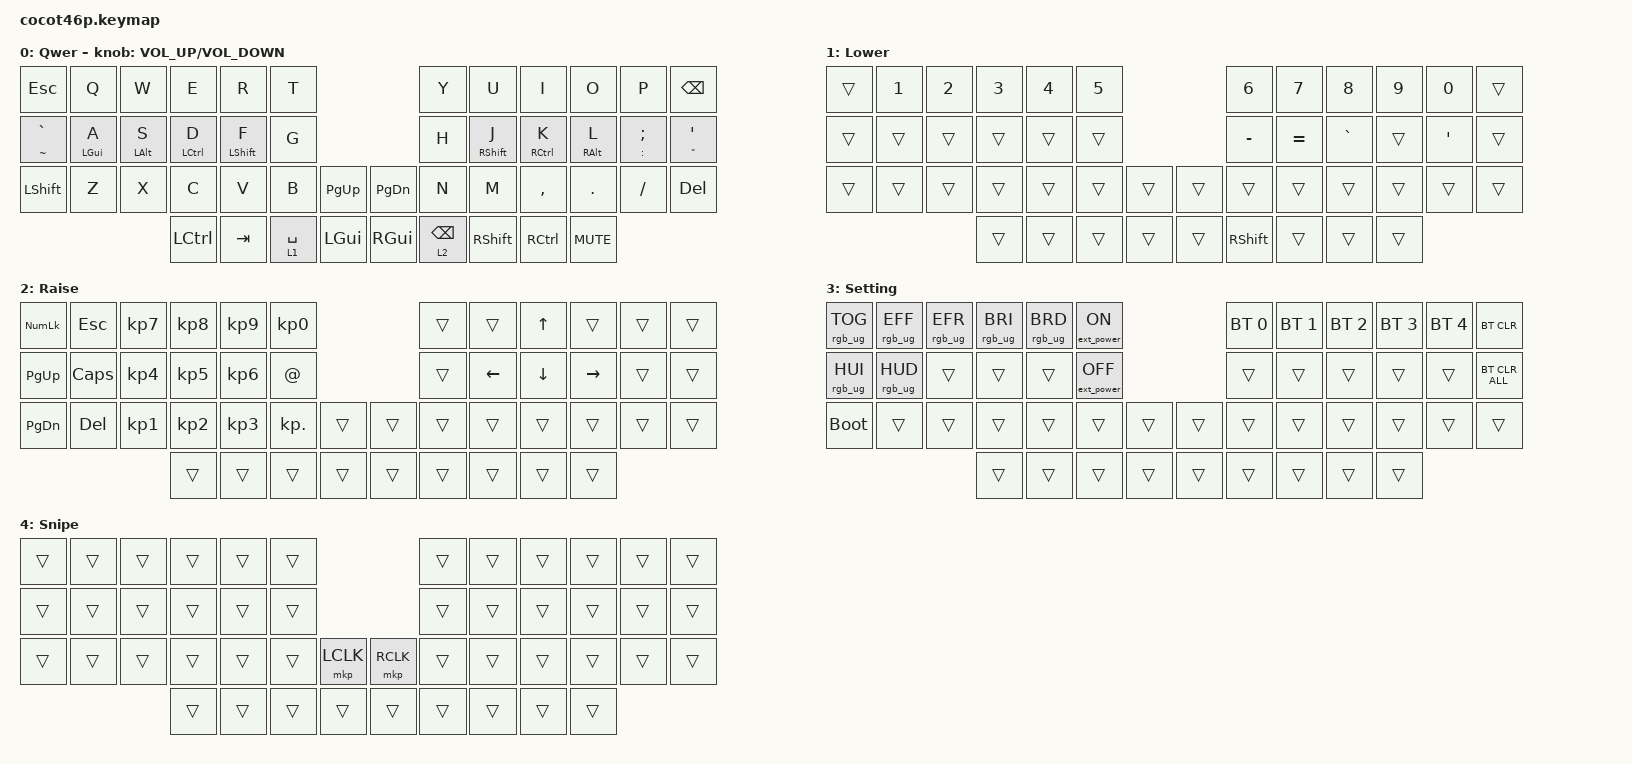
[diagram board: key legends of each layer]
/*
 * Copyright (c) 2021 The ZMK Contributors
 *
 * SPDX-License-Identifier: MIT
 */

#include <behaviors/mouse_keys.dtsi>
#include <dt-bindings/zmk/mouse.h>
#include <behaviors.dtsi>
#include <dt-bindings/zmk/bt.h>
#include <dt-bindings/zmk/ext_power.h>
#include <dt-bindings/zmk/keys.h>
#include <dt-bindings/zmk/pointing.h>
#include <dt-bindings/zmk/rgb.h>

/ {
    combos {
        compatible = "zmk,combos";

        left_bkt {
            bindings = <&kp LEFT_BRACKET>;
            key-positions = <3 4>;
        };

        right_bkt {
            bindings = <&kp RIGHT_BRACKET>;
            key-positions = <7 8>;
        };

        left_brace {
            bindings = <&kp LEFT_BRACE>;
            key-positions = <27 28>;
        };

        right_brace {
            bindings = <&kp RIGHT_BRACE>;
            key-positions = <33 34>;
        };

        left_par {
            bindings = <&kp LEFT_PARENTHESIS>;
            key-positions = <15 16>;
        };

        right_par {
            bindings = <&kp RIGHT_PARENTHESIS>;
            key-positions = <19 20>;
        };

        pipe {
            bindings = <&kp PIPE>;
            key-positions = <5 6>;
        };

        back_slash {
            bindings = <&kp BACKSLASH>;
            key-positions = <17 18>;
        };

        enter {
            bindings = <&kp ENTER>;
            key-positions = <21 22>;
        };
    };

    behaviors {
        hm: homerow_mods {
            compatible = "zmk,behavior-hold-tap";
            label = "HOMEROW_MODS";
            bindings = <&kp>, <&kp>;

            #binding-cells = <2>;
            tapping-term-ms = <200>;
            quick-tap-ms = <180>;
            flavor = "tap-preferred";
        };

        ltq: ltq {
            compatible = "zmk,behavior-hold-tap";
            label = "LTQ";
            bindings = <&mo>, <&kp>;

            #binding-cells = <2>;
            tapping-term-ms = <200>;
            quick-tap-ms = <180>;
        };

        as: auto_shift {
            compatible = "zmk,behavior-hold-tap";
            label = "AUTO_SHIFT";
            bindings = <&kp>, <&kp>;

            #binding-cells = <2>;
            tapping-term-ms = <135>;
            quick-tap-ms = <0>;
        };
    };

    keymap {
        compatible = "zmk,keymap";

        Qwer {
            bindings = <
&kp ESCAPE       &kp Q           &kp W           &kp E               &kp R             &kp T                                    &kp Y             &kp U              &kp I                &kp O            &kp P                &kp BSPC
&as TILDE GRAVE  &hm LEFT_GUI A  &hm LEFT_ALT S  &hm LEFT_CONTROL D  &hm LEFT_SHIFT F  &kp G                                    &kp H             &hm RIGHT_SHIFT J  &hm RIGHT_CONTROL K  &hm RIGHT_ALT L  &as COLON SEMICOLON  &as DOUBLE_QUOTES SINGLE_QUOTE
&kp LEFT_SHIFT   &kp Z           &kp X           &kp C               &kp V             &kp B        &kp PAGE_UP  &kp PAGE_DOWN  &kp N             &kp M              &kp COMMA            &kp PERIOD       &kp SLASH            &kp DELETE
                                                 &kp LCTRL           &kp TAB           &lt 1 SPACE  &kp LGUI     &kp RGUI       &ltq 2 BACKSPACE  &kp RIGHT_SHIFT    &kp RCTRL            &kp C_MUTE
            >;

            sensor-bindings = <&inc_dec_kp C_VOLUME_UP C_VOLUME_DOWN>;
            label = "Qwer";
        };

        Lower {
            bindings = <
&trans  &kp NUMBER_1  &kp NUMBER_2  &kp NUMBER_3  &kp NUMBER_4  &kp N5                  &kp NUMBER_6  &kp N7     &kp N8     &kp N9  &kp N0   &trans
&trans  &trans        &trans        &trans        &trans        &trans                  &kp MINUS     &kp EQUAL  &kp GRAVE  &trans  &kp SQT  &trans
&trans  &trans        &trans        &trans        &trans        &trans  &trans  &trans  &trans        &trans     &trans     &trans  &trans   &trans
                                    &trans        &trans        &trans  &trans  &trans  &kp RSHFT     &trans     &trans     &trans
            >;

            label = "Lower";
        };

        Raise {
            bindings = <
&kp KP_NUM     &kp ESC   &kp KP_NUMBER_7  &kp KP_NUMBER_8  &kp KP_NUMBER_9  &kp KP_NUMBER_0                  &trans  &trans    &kp UP_ARROW    &trans     &trans  &trans
&kp PAGE_UP    &kp CAPS  &kp KP_NUMBER_4  &kp KP_NUMBER_5  &kp KP_NUMBER_6  &kp AT_SIGN                      &trans  &kp LEFT  &kp DOWN_ARROW  &kp RIGHT  &trans  &trans
&kp PAGE_DOWN  &kp DEL   &kp KP_NUMBER_1  &kp KP_NUMBER_2  &kp KP_NUMBER_3  &kp KP_DOT       &trans  &trans  &trans  &trans    &trans          &trans     &trans  &trans
                                          &trans           &trans           &trans           &trans  &trans  &trans  &trans    &trans          &trans
            >;

            label = "Raise";
        };

        Setting {
            bindings = <
&rgb_ug RGB_TOG  &rgb_ug RGB_EFF  &rgb_ug RGB_EFR  &rgb_ug RGB_BRI  &rgb_ug RGB_BRD  &ext_power EP_ON                   &bt BT_SEL 0  &bt BT_SEL 1  &bt BT_SEL 2  &bt BT_SEL 3  &bt BT_SEL 4  &bt BT_CLR
&rgb_ug RGB_HUI  &rgb_ug RGB_HUD  &trans           &trans           &trans           &ext_power EP_OFF                  &trans        &trans        &trans        &trans        &trans        &bt BT_CLR_ALL
&bootloader      &trans           &trans           &trans           &trans           &trans             &trans  &trans  &trans        &trans        &trans        &trans        &trans        &trans
                                                   &trans           &trans           &trans             &trans  &trans  &trans        &trans        &trans        &trans
            >;

            label = "Setting";
        };

        Snipe {
            bindings = <
&trans  &trans  &trans  &trans  &trans  &trans                        &trans  &trans  &trans  &trans  &trans  &trans
&trans  &trans  &trans  &trans  &trans  &trans                        &trans  &trans  &trans  &trans  &trans  &trans
&trans  &trans  &trans  &trans  &trans  &trans  &mkp LCLK  &mkp RCLK  &trans  &trans  &trans  &trans  &trans  &trans
                        &trans  &trans  &trans  &trans     &trans     &trans  &trans  &trans  &trans
            >;

            label = "Snipe";
        };
    };
};
